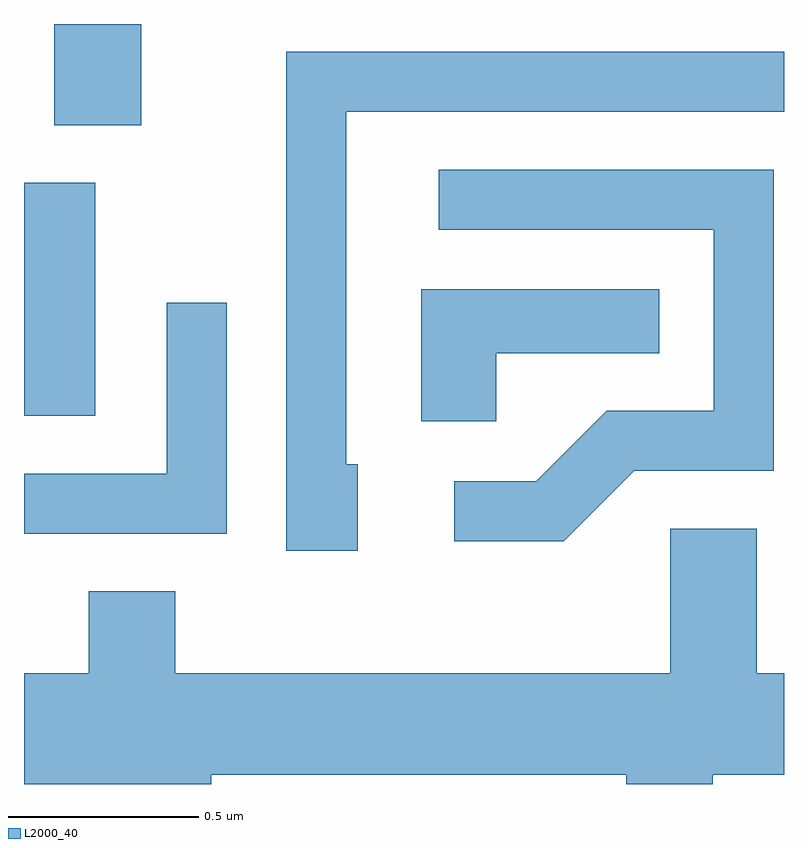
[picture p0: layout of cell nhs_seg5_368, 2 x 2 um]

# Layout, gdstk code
import gdstk
lib = gdstk.Library(unit=1e-6, precision=1e-09)
def R(c, l, rs):  # rectangles x0, y0, x1, y1
    for r in rs: c.add(gdstk.rectangle(r[:2], r[2:], *l))
def P(c, l, *ps):  # polygons
    for p in ps: c.add(gdstk.Polygon(p, *l))
L2000_40 = (2000, 40)

nhs_seg5_368 = lib.new_cell('nhs_seg5_368')
R(nhs_seg5_368, L2000_40, [(187.611,1491.041,187.799,1491.654), (187.691,1491.806,187.919,1492.072)])
P(nhs_seg5_368, L2000_40, [(188.489,1490.914),(188.459,1490.914),(188.459,1491.841),(189.611,1491.841),(189.611,1491.999),(188.301,1491.999),(188.301,1490.686),(188.489,1490.686)],
  [(189.217,1490.896),(189.584,1490.896),(189.584,1491.689),(188.703,1491.689),(188.703,1491.531),(189.426,1491.531),(189.426,1491.054),(189.144,1491.054),(188.959,1490.869),(188.743,1490.869),(188.743,1490.711),(189.032,1490.711)],
  [(188.854,1491.206),(189.283,1491.206),(189.283,1491.374),(188.656,1491.374),(188.656,1491.026),(188.854,1491.026)],
  [(188.144,1491.338),(187.986,1491.338),(187.986,1490.889),(187.611,1490.889),(187.611,1490.731),(188.144,1490.731)],
  [(188.104,1490.096),(189.196,1490.096),(189.196,1490.072),(189.424,1490.072),(189.424,1490.096),(189.611,1490.096),(189.611,1490.364),(189.539,1490.364),(189.539,1490.744),(189.311,1490.744),(189.311,1490.364),(188.009,1490.364),(188.009,1490.579),(187.781,1490.579),(187.781,1490.364),(187.611,1490.364),(187.611,1490.072),(188.104,1490.072)])

lib.write_gds('nhs_seg5_368.gds')
